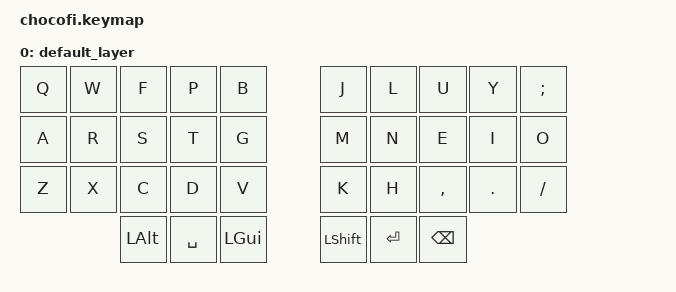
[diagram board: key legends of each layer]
/*
 * Copyright (c) 2023 The ZMK Contributors
 *
 * SPDX-License-Identifier: MIT
 */

#include <behaviors.dtsi>
#include <dt-bindings/zmk/keys.h>
#include <dt-bindings/zmk/bt.h>

/ {
    keymap {
        compatible = "zmk,keymap";

        default_layer {
        /*
        ╭──────┬───────┬───────┬───────┬───────╮  ╭──────┬───────┬───────┬───────┬───────╮
        │  Q   │  W    │  E    │  R    │  B    │  │  J   │  L    │  U    │  Y    │  ;    │
        │  A   │  R    │  S    │  T    │  G    │  │  M   │  N    │  E    │  I    │  O    │
        │  Z   │  X    │  C    │  D    │  V    │  │  K   │  H    │  ,    │  .    │  /    │
        ╰──────┴───────╮ ALT   │ SPC   │ GUI   │  │ SHFT │ ENT   │ BSP   │───────┴───────╯
                       ╰───────┴───────┴───────╯  ╰──────┴───────┴───────╯
        */
        bindings = <
        &kp Q &kp W &kp F &kp P &kp B   /**/  &kp J &kp L &kp U &kp Y &kp SEMI
        &kp A &kp R &kp S &kp T &kp G   /**/  &kp M &kp N &kp E &kp I &kp O
        &kp Z &kp X &kp C &kp D &kp V   /**/  &kp K &kp H &kp COMMA &kp DOT &kp FSLH
             &kp LALT &kp SPC &kp LGUI  /**/  &kp LSHFT &kp RET &kp BSPC
        >;
        };
    };
};
